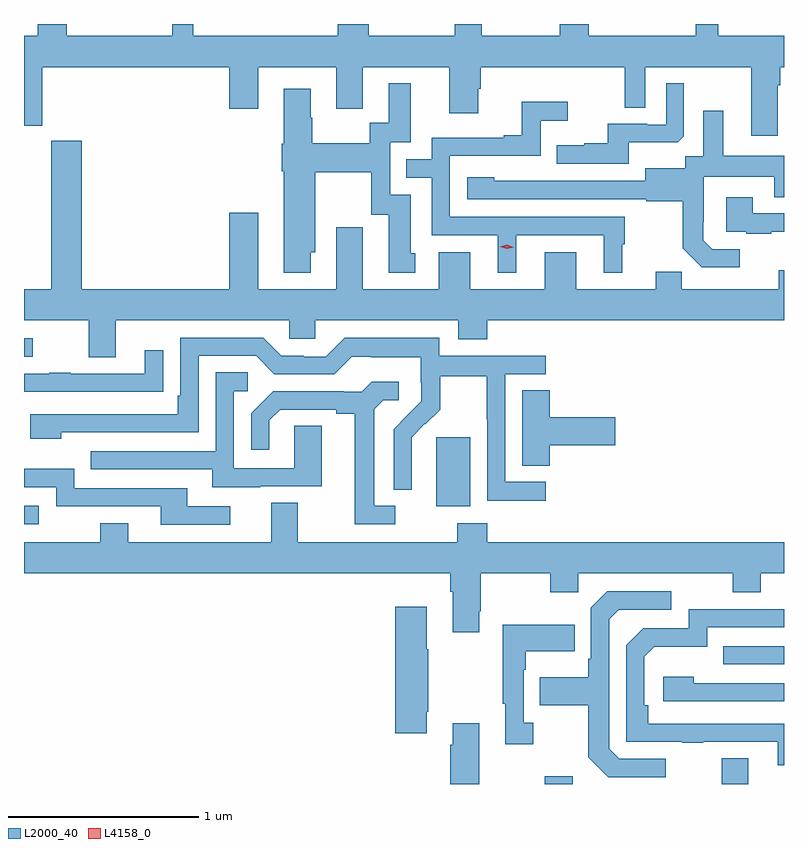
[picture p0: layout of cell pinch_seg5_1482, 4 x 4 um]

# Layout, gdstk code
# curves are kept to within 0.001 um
import gdstk
lib = gdstk.Library(unit=1e-6, precision=1e-09)
def R(c, l, rs):  # rectangles x0, y0, x1, y1
    for r in rs: c.add(gdstk.rectangle(r[:2], r[2:], *l))
def P(c, l, *ps):  # polygons
    for p in ps: c.add(gdstk.Polygon(p, *l))
L2000_40 = (2000, 40)
L4158_0 = (4158, 0)

pinch_seg5_1482 = lib.new_cell('pinch_seg5_1482')
R(pinch_seg5_1482, L2000_40, [(271.144,839.667,271.291,839.707), (272.075,839.667,272.215,839.803), (272.083,840.297,272.403,840.393), (268.403,841.035,268.48,841.131), (270.572,841.13,270.751,841.491), (268.403,841.917,268.45,842.013)])
P(pinch_seg5_1482, L2000_40, [(272.371,843.344),(272.384,843.344),(272.384,843.44),(272.403,843.44),(272.403,843.604),(272.056,843.604),(272.056,843.667),(271.939,843.667),(271.939,843.604),(271.376,843.604),(271.376,843.667),(271.223,843.667),(271.223,843.604),(270.811,843.604),(270.811,843.667),(270.671,843.667),(270.671,843.604),(270.217,843.604),(270.217,843.667),(270.053,843.667),(270.053,843.604),(269.293,843.604),(269.293,843.667),(269.184,843.667),(269.184,843.604),(268.627,843.604),(268.627,843.667),(268.475,843.667),(268.475,843.604),(268.403,843.604),(268.403,843.131),(268.498,843.131),(268.498,843.44),(269.483,843.44),(269.483,843.222),(269.635,843.222),(269.635,843.44),(270.047,843.44),(270.047,843.222),(270.187,843.222),(270.187,843.44),(270.641,843.44),(270.641,843.198),(270.793,843.198),(270.793,843.327),(270.806,843.327),(270.806,843.44),(271.566,843.44),(271.566,843.226),(271.674,843.226),(271.674,843.44),(272.231,843.44),(272.231,843.078),(272.371,843.078)],
  [(271.585,843.044),(271.843,843.044),(271.875,843.075),(271.875,843.355),(271.782,843.355),(271.782,843.138),(271.682,843.138),(271.682,843.141),(271.475,843.141),(271.475,843.04),(271.351,843.04),(271.351,843.028),(271.207,843.028),(271.207,842.931),(271.585,842.931)],
  [(269.911,842.466),(269.935,842.466),(269.935,842.888),(270.231,842.888),(270.231,842.663),(270.323,842.663),(270.323,842.358),(270.463,842.358),(270.463,842.46),(270.439,842.46),(270.439,842.769),(270.33,842.769),(270.33,843.045),(270.439,843.045),(270.439,843.355),(270.323,843.355),(270.323,843.146),(270.222,843.146),(270.222,843.04),(269.919,843.04),(269.919,843.174),(269.911,843.174),(269.911,843.325),(269.771,843.325),(269.771,843.036),(269.759,843.036),(269.759,842.892),(269.771,842.892),(269.771,842.357),(269.911,842.357)],
  [(270.994,842.556),(271.454,842.556),(271.454,842.357),(271.552,842.357),(271.552,842.508),(271.564,842.508),(271.564,842.652),(270.645,842.652),(270.645,842.973),(271.122,842.973),(271.122,843.158),(271.264,843.158),(271.264,843.257),(271.024,843.257),(271.024,843.082),(270.929,843.082),(270.929,843.069),(270.549,843.069),(270.549,842.955),(270.415,842.955),(270.415,842.859),(270.549,842.859),(270.549,842.556),(270.896,842.556),(270.896,842.357),(270.994,842.357)],
  [(272.17,842.481),(272.025,842.481),(271.978,842.528),(271.978,842.623),(271.98,842.623),(271.98,842.864),(272.351,842.864),(272.351,842.755),(272.403,842.755),(272.403,842.974),(272.083,842.974),(272.083,843.211),(271.979,843.211),(271.979,842.972),(271.884,842.972),(271.884,842.908),(271.673,842.908),(271.673,842.841),(270.879,842.842),(270.879,842.86),(270.735,842.86),(270.735,842.745),(271.677,842.745),(271.677,842.733),(271.869,842.733),(271.869,842.487),(271.969,842.387),(272.17,842.387)],
  [(268.885,842.108),(269.799,842.108),(269.799,842.01),(269.937,842.01),(269.937,842.108),(270.689,842.108),(270.689,842.009),(270.842,842.009),(270.842,842.108),(272.403,842.108),(272.403,842.371),(272.375,842.371),(272.375,842.272),(271.865,842.272),(271.865,842.363),(271.727,842.363),(271.727,842.272),(271.309,842.272),(271.309,842.467),(271.145,842.467),(271.145,842.272),(270.751,842.272),(270.751,842.467),(270.587,842.467),(270.587,842.272),(270.187,842.272),(270.187,842.483),(270.185,842.483),(270.185,842.596),(270.047,842.596),(270.047,842.272),(269.635,842.272),(269.635,842.674),(269.483,842.674),(269.483,842.272),(268.706,842.272),(268.706,843.052),(268.546,843.052),(268.546,842.272),(268.403,842.272),(268.403,842.108),(268.745,842.108),(268.745,841.914),(268.885,841.914)],
  [(272.335,842.573),(272.403,842.573),(272.403,842.67),(272.239,842.67),(272.239,842.755),(272.099,842.755),(272.099,842.574),(272.203,842.574),(272.203,842.562),(272.335,842.562)],
  [(271.15,841.257),(270.936,841.257),(270.936,841.824),(271.15,841.824),(271.15,841.92),(270.588,841.92),(270.588,842.017),(270.091,842.017),(269.991,841.917),(269.876,841.917),(269.876,841.92),(269.757,841.92),(269.661,842.016),(269.226,842.016),(269.226,841.711),(269.213,841.711),(269.213,841.614),(268.437,841.614),(268.437,841.484),(268.598,841.484),(268.598,841.518),(269.322,841.518),(269.322,841.92),(269.625,841.92),(269.721,841.824),(270.036,841.824),(270.129,841.917),(270.229,841.917),(270.229,841.913),(270.492,841.913),(270.492,841.779),(270.494,841.779),(270.494,841.682),(270.348,841.534),(270.348,841.216),(270.444,841.216),(270.443,841.493),(270.513,841.563),(270.516,841.56),(270.593,841.637),(270.593,841.812),(270.838,841.812),(270.838,841.588),(270.84,841.588),(270.84,841.159),(271.15,841.159)],
  [(269.033,841.732),(269.135,841.732),(269.135,841.951),(269.039,841.951),(269.039,841.827),(268.649,841.827),(268.649,841.832),(268.537,841.832),(268.537,841.827),(268.403,841.827),(268.403,841.731),(269.033,841.731)],
  [(269.647,841.233),(269.971,841.233),(269.971,841.553),(269.826,841.553),(269.826,841.329),(269.508,841.329),(269.508,841.734),(269.581,841.734),(269.581,841.835),(269.412,841.835),(269.412,841.419),(268.753,841.419),(268.753,841.323),(269.393,841.323),(269.393,841.229),(269.647,841.229)],
  [(270.358,841.131),(270.247,841.131),(270.247,841.639),(270.294,841.686),(270.376,841.686),(270.376,841.783),(270.232,841.783),(270.18,841.731),(270.086,841.731),(270.086,841.734),(269.714,841.734),(269.598,841.618),(269.598,841.425),(269.695,841.425),(269.695,841.581),(269.752,841.638),(270.047,841.638),(270.047,841.616),(270.143,841.616),(270.143,841.035),(270.358,841.035)],
  [(271.169,841.451),(271.516,841.451),(271.516,841.598),(271.169,841.598),(271.169,841.739),(271.025,841.739),(271.025,841.342),(271.169,841.342)],
  [(269.488,841.128),(269.263,841.128),(269.263,841.224),(268.668,841.224),(268.668,841.327),(268.403,841.327),(268.403,841.23),(268.572,841.23),(268.572,841.128),(269.123,841.128),(269.123,841.032),(269.488,841.032)],
  [(270.799,840.577),(270.807,840.577),(270.807,840.776),(271.174,840.776),(271.174,840.677),(271.32,840.677),(271.32,840.776),(272.134,840.776),(272.134,840.677),(272.281,840.677),(272.281,840.776),(272.403,840.776),(272.403,840.94),(270.842,840.94),(270.842,841.039),(270.682,841.039),(270.682,840.94),(269.845,840.94),(269.845,841.148),(269.705,841.148),(269.705,840.94),(268.951,840.94),(268.951,841.039),(268.804,841.039),(268.804,840.94),(268.403,840.94),(268.403,840.776),(270.647,840.776),(270.647,840.68),(270.659,840.68),(270.659,840.465),(270.799,840.465)],
  [(271.78,839.799),(271.536,839.799),(271.482,839.853),(271.482,840.534),(271.533,840.585),(271.81,840.585),(271.81,840.681),(271.473,840.681),(271.386,840.594),(271.386,840.325),(271.374,840.325),(271.374,840.229),(271.117,840.229),(271.117,840.082),(271.374,840.082),(271.374,839.809),(271.479,839.703),(271.78,839.703)],
  [(270.523,840.046),(270.531,840.046),(270.531,840.377),(270.523,840.377),(270.523,840.601),(270.356,840.601),(270.356,839.934),(270.523,839.934)],
  [(272.403,839.984),(271.688,839.985),(271.688,840.082),(271.668,840.082),(271.668,840.336),(271.721,840.389),(271.998,840.389),(271.998,840.492),(272.403,840.492),(272.403,840.588),(271.902,840.588),(271.902,840.486),(271.662,840.486),(271.572,840.396),(271.572,839.889),(271.867,839.889),(271.867,839.884),(271.979,839.884),(271.979,839.889),(272.369,839.889),(272.369,839.766),(272.403,839.766)],
  [(271.084,839.99),(271.032,839.99),(271.032,840.269),(271.045,840.269),(271.045,840.365),(271.301,840.365),(271.301,840.505),(270.924,840.505),(270.924,840.089),(270.935,840.089),(270.935,839.877),(271.084,839.877)],
  [(272.403,840.198),(271.928,840.198),(271.928,840.232),(271.767,840.232),(271.767,840.102),(272.403,840.102)],
  [(270.799,839.986),(270.659,839.986),(270.659,839.873),(270.647,839.873),(270.647,839.667),(270.799,839.667)])
P(pinch_seg5_1482, L4158_0, [(270.945,842.484),(270.909,842.495),(270.909,842.495),(270.909,842.495),(270.945,842.504),(270.981,842.493),(270.981,842.492),(270.981,842.492)])

lib.write_gds('pinch_seg5_1482.gds')
